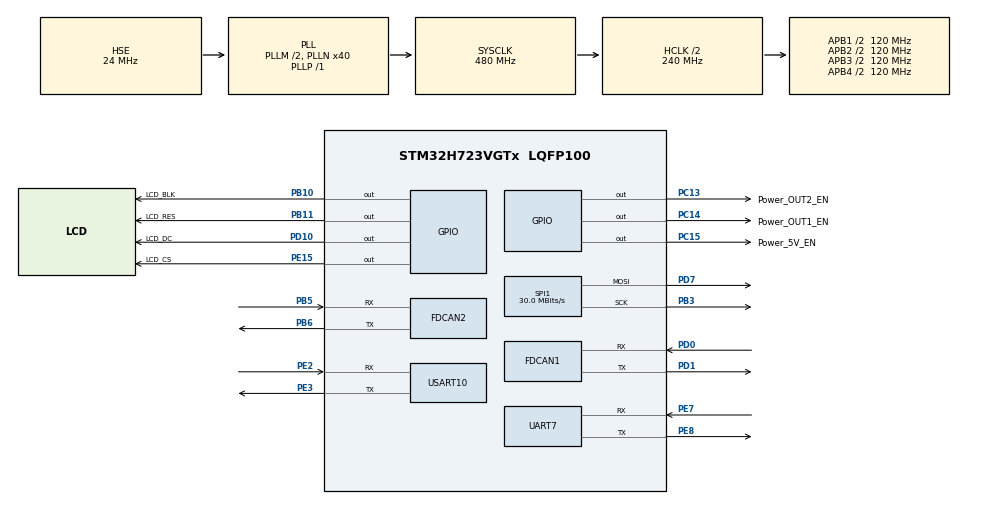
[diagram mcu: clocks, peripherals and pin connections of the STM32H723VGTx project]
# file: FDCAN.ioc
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CORTEX_M7.default_mode_Activation=0
FDCAN1.CalculateBaudRateNominal=1000000
FDCAN1.CalculateTimeBitNominal=1000
FDCAN1.CalculateTimeQuantumNominal=25.0
FDCAN1.DataPrescaler=3
FDCAN1.DataSyncJumpWidth=10
FDCAN1.DataTimeSeg1=29
FDCAN1.DataTimeSeg2=10
FDCAN1.NominalPrescaler=3
FDCAN1.NominalSyncJumpWidth=10
FDCAN1.NominalTimeSeg1=29
FDCAN1.NominalTimeSeg2=10
FDCAN1.ProtocolException=ENABLE
FDCAN1.RxFifo0ElmtsNbr=2
FDCAN1.StdFiltersNbr=0x00000000
FDCAN1.TxFifoQueueElmtsNbr=2
FDCAN2.CalculateBaudRateNominal=1000000
FDCAN2.CalculateTimeBitNominal=1000
FDCAN2.CalculateTimeQuantumNominal=25.0
FDCAN2.DataPrescaler=3
FDCAN2.DataSyncJumpWidth=10
FDCAN2.DataTimeSeg1=29
FDCAN2.DataTimeSeg2=10
FDCAN2.NominalPrescaler=3
FDCAN2.NominalSyncJumpWidth=10
FDCAN2.NominalTimeSeg1=29
FDCAN2.NominalTimeSeg2=10
FDCAN2.ProtocolException=ENABLE
FDCAN2.RxFifo0ElmtsNbr=2
FDCAN2.StdFiltersNbr=0x00000000
FDCAN2.TxFifoQueueElmtsNbr=2
Mcu.Family=STM32H7
Mcu.Name=STM32H723VGTx
Mcu.Package=LQFP100
NVIC.FDCAN1_IT0_IRQn=true\:1\:0\:true\:false\:true\:true\:true\:true
NVIC.FDCAN2_IT0_IRQn=true\:2\:0\:true\:false\:true\:true\:true\:true
NVIC.PriorityGroup=NVIC_PRIORITYGROUP_4
NVIC.UART7_IRQn=true\:3\:0\:true\:false\:true\:true\:true\:true
PB10.GPIO_Label=LCD_BLK
PB10.Signal=GPIO_Output
PB11.GPIO_Label=LCD_RES
PB11.Signal=GPIO_Output
PB3(JTDO/TRACESWO).Mode=TX_Only_Simplex_Unidirect_Master
PB3(JTDO/TRACESWO).Signal=SPI1_SCK
PB5.Mode=FDCAN_Activate
PB5.Signal=FDCAN2_RX
PB6.Mode=FDCAN_Activate
PB6.Signal=FDCAN2_TX
PC13.GPIO_Label=Power_OUT2_EN
PC13.GPIO_PuPd=GPIO_PULLUP
PC13.PinState=GPIO_PIN_SET
PC13.Signal=GPIO_Output
PC14-OSC32_IN.GPIO_Label=Power_OUT1_EN
PC14-OSC32_IN.GPIO_PuPd=GPIO_PULLUP
PC14-OSC32_IN.PinState=GPIO_PIN_SET
PC14-OSC32_IN.Signal=GPIO_Output
PC15-OSC32_OUT.GPIO_Label=Power_5V_EN
PC15-OSC32_OUT.GPIO_PuPd=GPIO_PULLUP
PC15-OSC32_OUT.PinState=GPIO_PIN_SET
PC15-OSC32_OUT.Signal=GPIO_Output
PD0.Mode=FDCAN_Activate
PD0.Signal=FDCAN1_RX
PD1.Mode=FDCAN_Activate
PD1.Signal=FDCAN1_TX
PD10.GPIO_Label=LCD_DC
PD10.Signal=GPIO_Output
PD7.Mode=TX_Only_Simplex_Unidirect_Master
PD7.Signal=SPI1_MOSI
PE15.GPIO_Label=LCD_CS
PE15.Signal=GPIO_Output
PE2.Mode=Asynchronous
PE2.Signal=USART10_RX
PE3.Mode=Asynchronous
PE3.Signal=USART10_TX
PE7.Mode=Asynchronous
PE7.Signal=UART7_RX
PE8.Mode=Asynchronous
PE8.Signal=UART7_TX
PH0-OSC_IN.Mode=HSE-External-Oscillator
PH0-OSC_IN.Signal=RCC_OSC_IN
PH1-OSC_OUT.Mode=HSE-External-Oscillator
PH1-OSC_OUT.Signal=RCC_OSC_OUT
ProjectManager.HeapSize=0x200
ProjectManager.StackSize=0x400
ProjectManager.TargetToolchain=MDK-ARM V5.32
RCC.ADCFreq_Value=96000000
RCC.APB1Freq_Value=120000000
RCC.APB2Freq_Value=120000000
RCC.APB3Freq_Value=120000000
RCC.APB4Freq_Value=120000000
RCC.CortexFreq_Value=480000000
RCC.D1PPRE=RCC_APB3_DIV2
RCC.D2PPRE1=RCC_APB1_DIV2
RCC.D2PPRE2=RCC_APB2_DIV2
RCC.D3PPRE=RCC_APB4_DIV2
RCC.DIVM1=2
RCC.DIVM2=2
RCC.DIVN1=40
RCC.DIVN2=16
RCC.DIVP1=1
RCC.DIVQ1=4
RCC.HCLKFreq_Value=240000000
RCC.HPRE=RCC_HCLK_DIV2
RCC.HSE_VALUE=24000000
RCC.PLL2FRACN=0
RCC.PLL3FRACN=0
RCC.PLLFRACN=0
RCC.PLLSourceVirtual=RCC_PLLSOURCE_HSE
RCC.SYSCLKFreq_VALUE=480000000
RCC.SYSCLKSource=RCC_SYSCLKSOURCE_PLLCLK
RCC.USBFreq_Value=120000000
SPI1.BaudRatePrescaler=SPI_BAUDRATEPRESCALER_4
SPI1.CLKPolarity=SPI_POLARITY_HIGH
SPI1.CalculateBaudRate=30.0 MBits/s
SPI1.DataSize=SPI_DATASIZE_8BIT
SPI1.Direction=SPI_DIRECTION_2LINES_TXONLY
SPI1.Mode=SPI_MODE_MASTER
SPI1.VirtualType=VM_MASTER
USART10.VirtualMode=VM_ASYNC
VP_MEMORYMAP_VS_MEMORYMAP.Mode=CurAppReg
board=custom

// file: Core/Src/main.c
/* USER CODE BEGIN Header */
/**
  ******************************************************************************
  * @file           : main.c
  * @brief          : Main program body
  ******************************************************************************
  * @attention
  *
  * Copyright (c) 2024 STMicroelectronics.
  * All rights reserved.
  *
  * This software is licensed under terms that can be found in the LICENSE file
  * in the root directory of this software component.
  * If no LICENSE file comes with this software, it is provided AS-IS.
  *
  ******************************************************************************
  */
/* USER CODE END Header */
#include "main.h"
#include "fdcan.h"
#include "memorymap.h"
#include "spi.h"
#include "usart.h"
#include "gpio.h"

/* USER CODE BEGIN Includes */
#include <stdio.h>
#include "math.h"
#include "lcd.h"
#include "pic.h"
#include "can_comm.h"
#include "motor_control.h"
/* USER CODE END Includes */

/* USER CODE BEGIN PD */

char YAWCMD[3] = {0XFF,0XAA,0X52};
char ACCCMD[3] = {0XFF,0XAA,0X67};
char SLEEPCMD[3] = {0XFF,0XAA,0X60};
char UARTMODECMD[3] = {0XFF,0XAA,0X61};
char IICMODECMD[3] = {0XFF,0XAA,0X62};

struct SAcc ACC;
struct SAngle Angle;
struct SGyro Gyro;
struct SHeight Height;

float angle_x;
float angle_y;
float angle_z;

float acc_x;
float acc_y;
float acc_z;

float gyro_x;
float gyro_y;
float gyro_z;

float height;

uint8_t rx_buff1;
uint8_t data[8];

volatile float Can1MotorCurVelocity = 0;
volatile float Can1MotorCurTorque = 0;
volatile float Can2MotorCurVelocity = 0;
volatile float Can2MotorCurTorque = 0;
/* USER CODE END PD */

void SystemClock_Config(void);

int main(void)
{

  /* MCU Configuration--------------------------------------------------------*/

  /* Reset of all peripherals, Initializes the Flash interface and the Systick. */
  HAL_Init();

  /* Configure the system clock */
  SystemClock_Config();

  /* Initialize all configured peripherals */
  MX_GPIO_Init();
  MX_FDCAN1_Init();
  MX_FDCAN2_Init();
  MX_SPI1_Init();
  MX_UART7_Init();
  MX_USART10_UART_Init();
  /* USER CODE BEGIN 2 */

  LCD_Init();
  LCD_Fill(0,0,LCD_W, LCD_H,BLACK);

  MX_FDCAN1_FilterInit();
  MX_FDCAN2_FilterInit();

  HAL_Delay(100);

	sendcmd((uint8_t*)ACCCMD);
	sendcmd((uint8_t*)YAWCMD);
	int count = 0;
	HAL_UART_Receive_IT(&huart7,&rx_buff1,1);

	Can1MotorControl_Start();
	HAL_Delay(100);

	Can1Comm_SendControlPara(0.0f, 0.0f, 0.0f, 0.0f, 0.5f);
	HAL_Delay(100);

	Can2MotorControl_Start();
	HAL_Delay(100);

	Can2Comm_SendControlPara(0.0f, 0.0f, 0.0f, 0.0f, 0.5f);
	HAL_Delay(100);

  /* USER CODE END 2 */

  /* Infinite loop */
  while (1)
  {

    /* USER CODE BEGIN 3 */

	/* IMU数据接收测试 */
//	sendcmd((uint8_t*)ACCCMD);
//	sendcmd((uint8_t*)YAWCMD);
//	HAL_UART_Receive_IT(&huart7,&rx_buff1,1);
//	get_imu_data();

//	/* CAN数据发送测试 */
//	uint8_t num = 0xff;
//	FDCAN1_Send_Msg(&num, 0x001);
//	FDCAN2_Send_Msg(&num, 0x001);

	/* CAN1电机测试 */
	Can1Comm_SendControlPara(0.0f, 0.0f, 0.0f, 0.0f, 0.5f);

	/* CAN2电机测试 */

  }
  /* USER CODE END 3 */
}

void SystemClock_Config(void)
{
  RCC_OscInitTypeDef RCC_OscInitStruct = {0};
  RCC_ClkInitTypeDef RCC_ClkInitStruct = {0};

  /** Supply configuration update enable
  */
  HAL_PWREx_ConfigSupply(PWR_LDO_SUPPLY);

  /** Configure the main internal regulator output voltage
  */
  __HAL_PWR_VOLTAGESCALING_CONFIG(PWR_REGULATOR_VOLTAGE_SCALE0);

  while(!__HAL_PWR_GET_FLAG(PWR_FLAG_VOSRDY)) {}

  /** Initializes the RCC Oscillators according to the specified parameters
  * in the RCC_OscInitTypeDef structure.
  */
  RCC_OscInitStruct.OscillatorType = RCC_OSCILLATORTYPE_HSE;
  RCC_OscInitStruct.HSEState = RCC_HSE_ON;
  RCC_OscInitStruct.PLL.PLLState = RCC_PLL_ON;
  RCC_OscInitStruct.PLL.PLLSource = RCC_PLLSOURCE_HSE;
  RCC_OscInitStruct.PLL.PLLM = 2;
  RCC_OscInitStruct.PLL.PLLN = 40;
  RCC_OscInitStruct.PLL.PLLP = 1;
  RCC_OscInitStruct.PLL.PLLQ = 4;
  RCC_OscInitStruct.PLL.PLLR = 2;
  RCC_OscInitStruct.PLL.PLLRGE = RCC_PLL1VCIRANGE_3;
  RCC_OscInitStruct.PLL.PLLVCOSEL = RCC_PLL1VCOWIDE;
  RCC_OscInitStruct.PLL.PLLFRACN = 0;
  if (HAL_RCC_OscConfig(&RCC_OscInitStruct) != HAL_OK)
  {
    Error_Handler();
  }

  /** Initializes the CPU, AHB and APB buses clocks
  */
  RCC_ClkInitStruct.ClockType = RCC_CLOCKTYPE_HCLK|RCC_CLOCKTYPE_SYSCLK
                              |RCC_CLOCKTYPE_PCLK1|RCC_CLOCKTYPE_PCLK2
                              |RCC_CLOCKTYPE_D3PCLK1|RCC_CLOCKTYPE_D1PCLK1;
  RCC_ClkInitStruct.SYSCLKSource = RCC_SYSCLKSOURCE_PLLCLK;
  RCC_ClkInitStruct.SYSCLKDivider = RCC_SYSCLK_DIV1;
  RCC_ClkInitStruct.AHBCLKDivider = RCC_HCLK_DIV2;
  RCC_ClkInitStruct.APB3CLKDivider = RCC_APB3_DIV2;
  RCC_ClkInitStruct.APB1CLKDivider = RCC_APB1_DIV2;
  RCC_ClkInitStruct.APB2CLKDivider = RCC_APB2_DIV2;
  RCC_ClkInitStruct.APB4CLKDivider = RCC_APB4_DIV2;

  if (HAL_RCC_ClockConfig(&RCC_ClkInitStruct, FLASH_LATENCY_3) != HAL_OK)
  {
    Error_Handler();
  }
}

/* USER CODE BEGIN 4 */

float getFloat(uint32_t value)
{
	/* 基于IEEE743协议将十六进制数据转换为单精度浮点数 */

    /* 提取符号位 (S) */
    unsigned int value_s = (value >> 31) & 0x01;

    /* 提取指数位 (E) */
    unsigned int value_e = (value >> 23) & 0xFF;

    /* 计算尾数位 (M) */
    float value_M = 0.0f;

    for (int i = 0; i < 23; i++)
	{
        int binaryData = (value >> i) & 1;

        float bitX = powf(2, (-23 + i));

        value_M += binaryData * bitX;
    }

    /* 计算 (E - 127) */
    float E_127 = (float)value_e - 127.0f;

    /* 计算最终的浮点数值 */
    float res = powf(-1, value_s) * (1.0f + value_M) * powf(2, E_127);

    return res;
}

void sendcmd(uint8_t data[3])
{
	static uint8_t tx_buff;
	for(int i=0;i<3;i++)
	{
		tx_buff = data[i];
		HAL_UART_Transmit(&huart7,&tx_buff,1,0Xff);
	}

}

void HAL_UART_RxCpltCallback(UART_HandleTypeDef *huart)
{
    if (huart->Instance == UART7) // 如果是USART1
    {
		CopeSerial2Data(rx_buff1);
		HAL_UART_Receive_IT(&huart7,&rx_buff1,1);
	}
}

void CopeSerial2Data(unsigned char ucData)
{
	static unsigned char ucRxBuffer[250];
	static unsigned char ucRxCnt = 0;

	ucRxBuffer[ucRxCnt++]=ucData;
	if (ucRxBuffer[0]!=0x55)
	{
		ucRxCnt=0;
		return;
	}
	if (ucRxCnt<11) {return;}
	else
	{
		switch(ucRxBuffer[1])
		{
			case 0x51:	memcpy(&ACC,&ucRxBuffer[2],8);break;    /* 加速度输出 */
			case 0x52:	memcpy(&Gyro,&ucRxBuffer[2],8);break;   /* 角速度输出 */
			case 0x53:	memcpy(&Angle,&ucRxBuffer[2],8);break;  /* 角度输出 */
			case 0x56:  memcpy(&Height,&ucRxBuffer[2],8);break; /* 气压高度输出 */

		}
		ucRxCnt=0;
	}
}

void HAL_FDCAN_RxFifo0Callback(FDCAN_HandleTypeDef *hfdcan, uint32_t RxFifo0ITs)
{

	if (hfdcan == &hfdcan1)
	{
		uint16_t tmp_value;

		FDCAN1_Receive_Msg((uint8_t *)data);

		if(data[0] == CAN_SLAVE_ID)
		{
//			tmp_value = (data[3]<<4)|(data[4]>>4);
//			Can1MotorCurVelocity = uint_to_float(tmp_value, V_MIN, V_MAX, 12);
			tmp_value = ((data[4] & 0x0F) << 8) | data[5];
			Can1MotorCurTorque = uint_to_float(tmp_value, T_MIN, T_MAX, 12);
		}
	}

	if (hfdcan == &hfdcan2)
	{
		uint16_t tmp_value;

		FDCAN2_Receive_Msg((uint8_t *)data);

		if(data[0] == CAN_SLAVE_ID)
		{
			tmp_value = (data[3]<<4)|(data[4]>>4);
			Can2MotorCurVelocity = uint_to_float(tmp_value, V_MIN, V_MAX, 12);
		}
	}
}

void get_imu_data()
{
		angle_x = (float)Angle.Angle[1]/32768*180;
		angle_y = (float)Angle.Angle[0]/32768*180;
		angle_z = (float)Angle.Angle[2]/32768*180;

		gyro_x = (float)Gyro.w[1]/32768*2000;
		gyro_y = (float)Gyro.w[0]/32768*2000;
		gyro_z = (float)Gyro.w[2]/32768*2000;

		acc_x = (float)ACC.a[1]/32768*16;
		acc_y = (float)ACC.a[0]/32768*16;
		acc_z = (float)ACC.a[2]/32768*16;

		height = (float)((Height.Height[7]<<24)|(Height.Height[6]<<16)|(Height.Height[5]<<8)|Height.Height[4]);
}

/* USER CODE END 4 */

void Error_Handler(void)
{
  __disable_irq();
  while (1)
  {
  }
}
